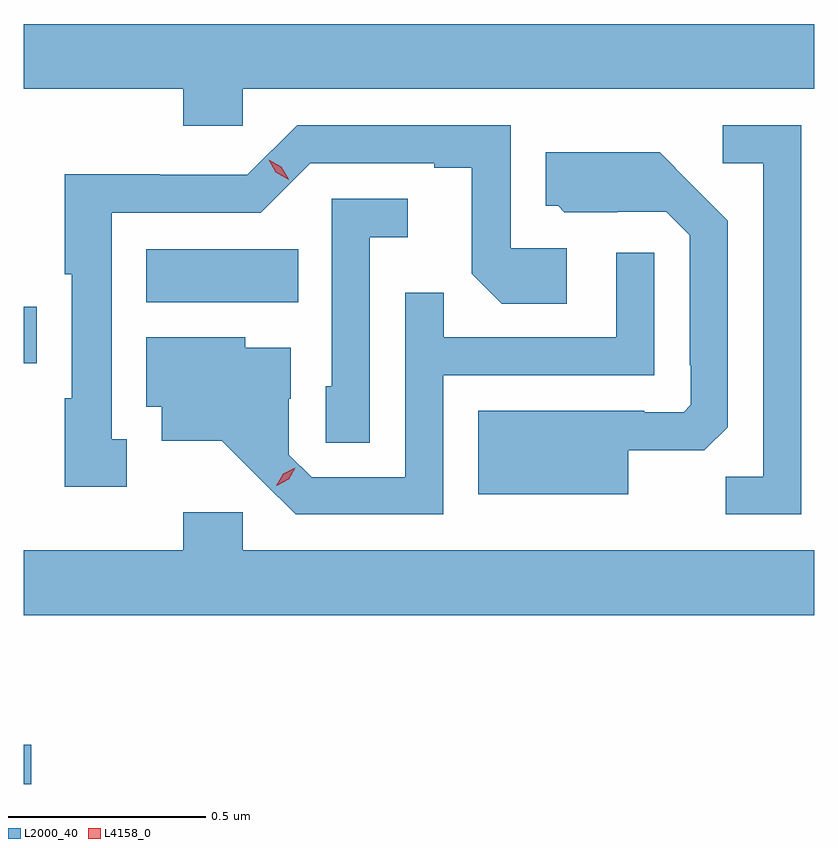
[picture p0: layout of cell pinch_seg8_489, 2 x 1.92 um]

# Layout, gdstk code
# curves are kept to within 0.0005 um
import gdstk
lib = gdstk.Library(unit=1e-6, precision=1e-09)
def R(c, l, rs):  # rectangles x0, y0, x1, y1
    for r in rs: c.add(gdstk.rectangle(r[:2], r[2:], *l))
def P(c, l, *ps):  # polygons
    for p in ps: c.add(gdstk.Polygon(p, *l))
L2000_40 = (2000, 40)
L4158_0 = (4158, 0)

pinch_seg8_489 = lib.new_cell('pinch_seg8_489')
R(pinch_seg8_489, L2000_40, [(229.414,1137.385,229.433,1137.484), (229.414,1138.45,229.447,1138.592), (229.724,1138.604,230.108,1138.738)])
P(pinch_seg8_489, L2000_40, [(229.968,1139.144),(231.414,1139.144),(231.414,1139.308),(229.414,1139.308),(229.414,1139.144),(229.817,1139.144),(229.817,1139.051),(229.968,1139.051)],
  [(231.381,1139.052),(231.183,1139.052),(231.183,1138.956),(231.285,1138.956),(231.285,1138.163),(231.19,1138.163),(231.19,1138.068),(231.381,1138.068)],
  [(229.675,1138.257),(229.636,1138.257),(229.636,1138.83),(230.013,1138.83),(230.139,1138.956),(230.453,1138.956),(230.453,1138.944),(230.547,1138.944),(230.547,1138.676),(230.623,1138.6),(230.788,1138.6),(230.788,1138.74),(230.646,1138.74),(230.646,1139.052),(230.106,1139.052),(229.98,1138.926),(229.758,1138.926),(229.758,1138.928),(229.518,1138.928),(229.518,1138.675),(229.535,1138.675),(229.535,1138.361),(229.518,1138.361),(229.518,1138.137),(229.675,1138.137)],
  [(230.944,1138.229),(231.136,1138.229),(231.195,1138.288),(231.195,1138.81),(231.023,1138.984),(230.735,1138.984),(230.735,1138.848),(230.766,1138.848),(230.782,1138.832),(230.916,1138.832),(230.916,1138.833),(231.039,1138.833),(231.099,1138.773),(231.099,1138.444),(231.102,1138.444),(231.102,1138.344),(231.084,1138.326),(230.984,1138.326),(230.984,1138.33),(230.564,1138.33),(230.564,1138.118),(230.944,1138.118)],
  [(230.289,1138.769),(230.386,1138.769),(230.386,1138.866),(230.193,1138.866),(230.193,1138.392),(230.178,1138.392),(230.178,1138.249),(230.289,1138.249)],
  [(230.475,1138.419),(231.009,1138.419),(231.009,1138.729),(230.913,1138.729),(230.913,1138.515),(230.477,1138.515),(230.477,1138.628),(230.379,1138.628),(230.379,1138.161),(230.142,1138.161),(230.085,1138.218),(230.085,1138.36),(230.089,1138.36),(230.089,1138.489),(229.974,1138.489),(229.974,1138.516),(229.724,1138.516),(229.724,1138.34),(229.763,1138.34),(229.763,1138.253),(229.915,1138.253),(230.102,1138.068),(230.475,1138.068)],
  [(231.414,1137.976),(229.968,1137.976),(229.968,1138.072),(229.817,1138.072),(229.817,1137.976),(229.414,1137.976),(229.414,1137.812),(231.414,1137.812)])
P(pinch_seg8_489, L4158_0, [(230.053,1138.14),(230.053,1138.14),(230.07,1138.17),(230.101,1138.185),(230.101,1138.185),(230.101,1138.185),(230.084,1138.156),(230.054,1138.14)],
  [(230.084,1138.914),(230.052,1138.933),(230.034,1138.965),(230.034,1138.965),(230.034,1138.965),(230.066,1138.947),(230.084,1138.915),(230.084,1138.914)])

lib.write_gds('pinch_seg8_489.gds')
